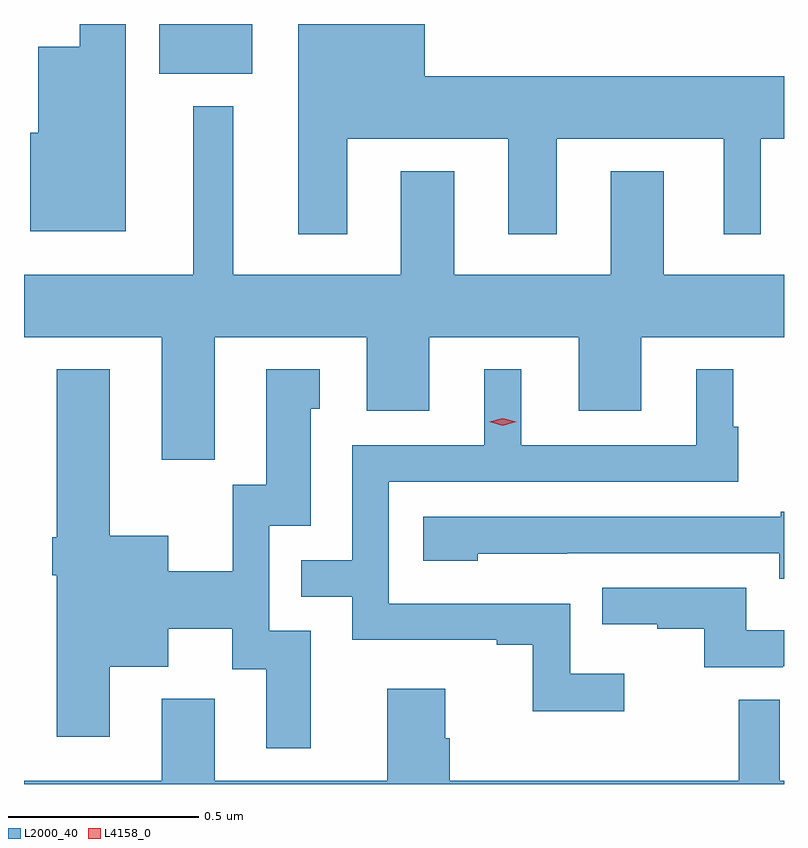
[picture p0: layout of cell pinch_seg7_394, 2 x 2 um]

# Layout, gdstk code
import gdstk
lib = gdstk.Library(unit=1e-6, precision=1e-09)
def R(c, l, rs):  # rectangles x0, y0, x1, y1
    for r in rs: c.add(gdstk.rectangle(r[:2], r[2:], *l))
def P(c, l, *ps):  # polygons
    for p in ps: c.add(gdstk.Polygon(p, *l))
L2000_40 = (2000, 40)
L4158_0 = (4158, 0)

pinch_seg7_394 = lib.new_cell('pinch_seg7_394')
R(pinch_seg7_394, L2000_40, [(435.653,1023.953,435.898,1024.084)])
P(pinch_seg7_394, L2000_40, [(435.565,1024.084),(435.444,1024.084),(435.444,1024.024),(435.335,1024.024),(435.335,1023.798),(435.314,1023.798),(435.314,1023.539),(435.565,1023.539)],
  [(436.147,1023.782),(436.571,1023.782),(436.571,1023.531),(436.699,1023.531),(436.699,1023.782),(437.138,1023.782),(437.138,1023.531),(437.236,1023.531),(437.236,1023.782),(437.297,1023.782),(437.297,1023.946),(436.351,1023.946),(436.351,1024.084),(436.019,1024.084),(436.019,1023.531),(436.147,1023.531)],
  [(435.743,1023.424),(435.297,1023.424),(435.297,1023.26),(435.659,1023.26),(435.659,1022.937),(435.799,1022.937),(435.799,1023.26),(436.199,1023.26),(436.199,1023.066),(436.363,1023.066),(436.363,1023.26),(436.757,1023.26),(436.757,1023.066),(436.921,1023.066),(436.921,1023.26),(437.297,1023.26),(437.297,1023.424),(436.981,1023.424),(436.981,1023.697),(436.841,1023.697),(436.841,1023.424),(436.429,1023.424),(436.429,1023.697),(436.289,1023.697),(436.289,1023.424),(435.847,1023.424),(435.847,1023.868),(435.743,1023.868)],
  [(436.876,1022.374),(436.734,1022.374),(436.734,1022.559),(436.257,1022.559),(436.257,1022.88),(437.176,1022.88),(437.176,1023.024),(437.164,1023.024),(437.164,1023.175),(437.066,1023.175),(437.066,1022.976),(436.606,1022.976),(436.606,1023.175),(436.508,1023.175),(436.508,1022.976),(436.161,1022.976),(436.161,1022.673),(436.027,1022.673),(436.027,1022.577),(436.161,1022.577),(436.161,1022.463),(436.541,1022.463),(436.541,1022.451),(436.636,1022.451),(436.636,1022.276),(436.876,1022.276)],
  [(436.051,1022.487),(435.942,1022.487),(435.942,1022.763),(436.051,1022.763),(436.051,1023.072),(436.075,1023.072),(436.075,1023.175),(435.935,1023.175),(435.935,1022.871),(435.846,1022.871),(435.846,1022.644),(435.676,1022.644),(435.676,1022.737),(435.523,1022.737),(435.523,1023.175),(435.383,1023.175),(435.383,1022.733),(435.371,1022.733),(435.371,1022.633),(435.383,1022.633),(435.383,1022.208),(435.523,1022.208),(435.523,1022.393),(435.676,1022.393),(435.676,1022.492),(435.845,1022.492),(435.845,1022.386),(435.935,1022.386),(435.935,1022.178),(436.051,1022.178)],
  [(437.297,1022.8),(437.289,1022.8),(437.289,1022.787),(436.347,1022.787),(436.347,1022.672),(436.491,1022.672),(436.491,1022.69),(436.727,1022.69),(436.727,1022.691),(437.285,1022.691),(437.285,1022.624),(437.297,1022.624)],
  [(437.294,1022.394),(437.297,1022.394),(437.297,1022.489),(437.197,1022.489),(437.197,1022.601),(436.819,1022.601),(436.819,1022.504),(436.963,1022.504),(436.963,1022.493),(437.087,1022.493),(437.087,1022.391),(437.294,1022.391)],
  [(437.297,1022.092),(437.286,1022.092),(437.286,1022.306),(437.178,1022.306),(437.178,1022.092),(436.418,1022.092),(436.418,1022.205),(436.405,1022.205),(436.405,1022.335),(436.253,1022.335),(436.253,1022.092),(435.799,1022.092),(435.799,1022.308),(435.659,1022.308),(435.659,1022.092),(435.297,1022.092),(435.297,1022.084),(437.297,1022.084)])
P(pinch_seg7_394, L4158_0, [(436.557,1023.027),(436.521,1023.037),(436.521,1023.037),(436.521,1023.037),(436.557,1023.047),(436.593,1023.037),(436.593,1023.037),(436.593,1023.037)])

lib.write_gds('pinch_seg7_394.gds')
